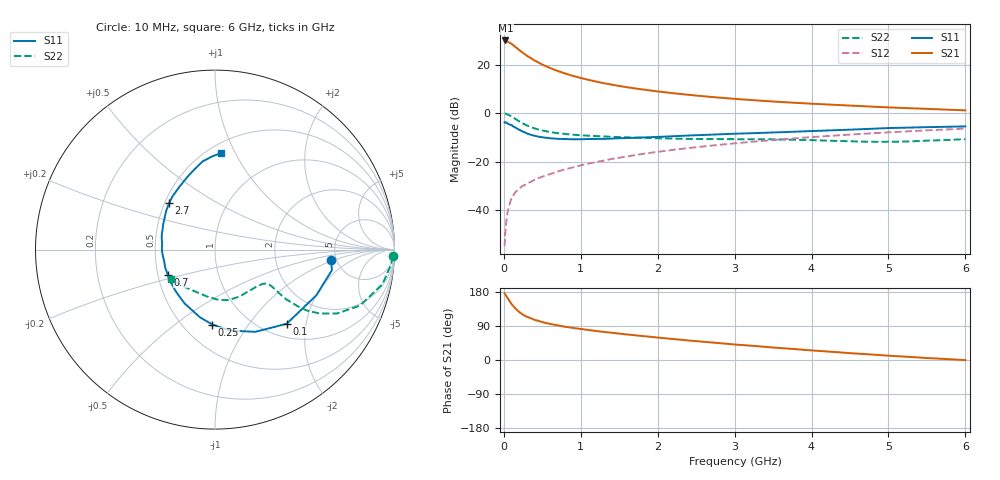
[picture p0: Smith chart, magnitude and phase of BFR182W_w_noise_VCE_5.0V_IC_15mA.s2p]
! (c) 2017  Infineon Technologies AG, Munich
! Infineon Technologies  Discrete & RF Semiconductors
! BFR182W
! VCE =  5.0 V,  IC =  15 mA
! Common Emitter S-Parameters:  Jan 2017
# GHz  S  MA  R  50
!  f  S11  S21  S12  S22
! GHz  MAG  ANG  MAG  ANG  MAG  ANG  MAG  ANG
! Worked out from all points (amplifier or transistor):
!   77 points, 10 MHz to 6 GHz, reference 50 ohm
!   highest |S21| = 30.1 dB at 20 MHz (marker M1)
!   |S21| within 3 dB of that: start of sweep to 163.2 MHz
!   unconditionally stable (mu >= 1): 924.3 MHz to 2.467 GHz
!   at 130 MHz: K = 0.35, MSG = 30.8 dB, |S12| = -33.6 dB
!   at 2.2 GHz: K = 1.01, MAG = 11.0 dB, |S12| = -15.1 dB
!   at 6 GHz: K = 0.87, MSG = 3.8 dB, |S12| = -6.3 dB
!   lowest NFmin = 1.25 dB at 450 MHz
!   S11 on the Smith chart (normalised r, x): 10 MHz: 4.52, -0.88; 100 MHz: 1.26, -1.55; 250 MHz: 0.69, -0.69; 700 MHz: 0.56, -0.17; 2.7 GHz: 0.53, +0.31; 6 GHz: 0.58, +0.88
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0.01  0.649 -5.0  31.88 176.0  0.0018 91.2  0.9912 -2.2
0.02  0.6614 -10.0  32.13 172.7  0.0036 98.1  0.9841 -4.9
0.05  0.6196 -24.2  30.54 162.6  0.0092 78.5  0.9526 -11.7
0.1  0.5746 -46.0  27.34 147.6  0.0174 72.3  0.866 -21.1
0.15  0.5099 -64.0  23.66 135.7  0.0235 67.4  0.7678 -27.6
0.2  0.4588 -79.3  20.39 126.6  0.028 64.1  0.6836 -31.4
0.25  0.4177 -92.1  17.74 119.4  0.032 62.4  0.6164 -33.5
0.3  0.3853 -102.8  15.52 114.0  0.0349 62.2  0.561 -34.4
0.4  0.3444 -119.5  12.37 105.8  0.0425 63.6  0.4879 -34.9
0.5  0.3201 -132.6  10.2 100.0  0.0491 64.5  0.4414 -34.4
0.6  0.306 -143.4  8.676 95.2  0.0555 65.1  0.4112 -33.7
0.7  0.2978 -152.1  7.522 91.3  0.0628 66.6  0.39 -33.2
0.9  0.2909 -166.4  5.939 84.6  0.0765 67.9  0.3624 -32.9
1.1  0.2952 -177.7  4.933 79.2  0.0915 68.0  0.3458 -33.5
1.3  0.2964 173.5  4.209 74.1  0.1057 68.0  0.3338 -34.7
1.5  0.3062 166.0  3.685 69.7  0.1211 67.9  0.3231 -36.8
2.1  0.3312 148.1  2.724 57.3  0.1683 65.6  0.303 -46.3
2.7  0.3632 134.7  2.183 46.3  0.2154 61.9  0.2946 -58.9
3.1  0.3836 126.6  1.945 39.5  0.2482 58.9  0.292 -67.3
4.1  0.4366 109.9  1.556 23.9  0.3311 50.8  0.2766 -88.5
5.1  0.501 96.6  1.31 10.2  0.4132 41.4  0.2595 -119.4
6  0.538 86.7  1.155 -0.3  0.4838 32.3  0.2936 -146.6
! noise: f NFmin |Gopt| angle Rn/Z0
0.45  1.25  0.04  146  0.15
0.9  1.33  0.05  146  0.15
1.9  1.82  0.24  -148  0.15
2.4  2.07  0.24  -133  0.22
